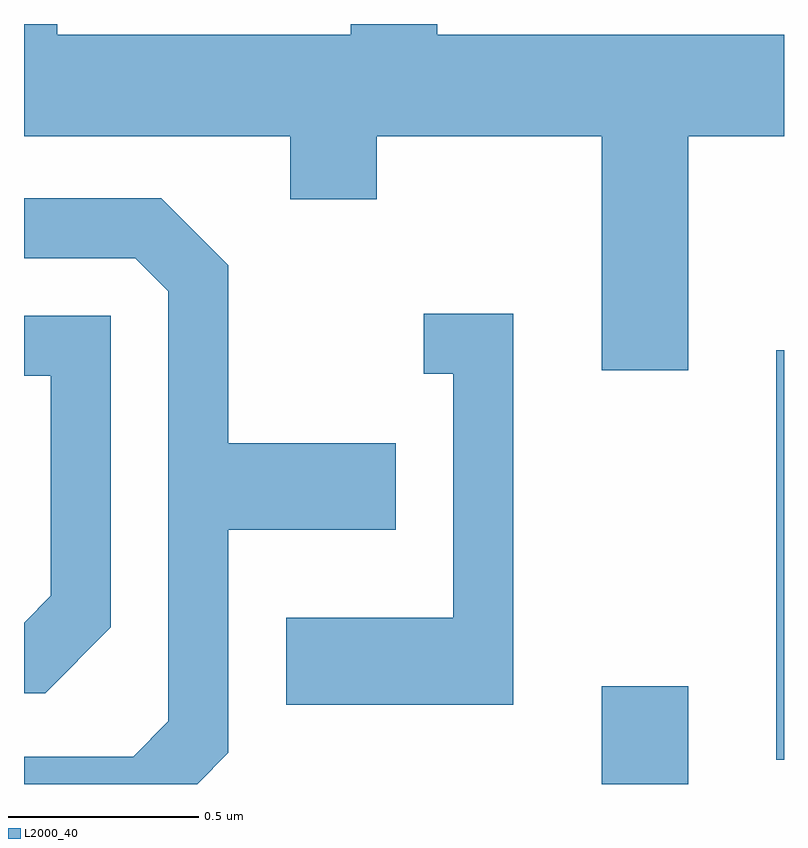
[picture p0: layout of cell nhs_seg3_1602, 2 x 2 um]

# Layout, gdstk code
import gdstk
lib = gdstk.Library(unit=1e-6, precision=1e-09)
def R(c, l, rs):  # rectangles x0, y0, x1, y1
    for r in rs: c.add(gdstk.rectangle(r[:2], r[2:], *l))
def P(c, l, *ps):  # polygons
    for p in ps: c.add(gdstk.Polygon(p, *l))
L2000_40 = (2000, 40)

nhs_seg3_1602 = lib.new_cell('nhs_seg3_1602')
R(nhs_seg3_1602, L2000_40, [(198.131,1210.892,198.359,1211.149), (198.591,1210.956,198.611,1212.034)])
P(nhs_seg3_1602, L2000_40, [(198.359,1212.596),(198.611,1212.596),(198.611,1212.864),(197.699,1212.864),(197.699,1212.892),(197.471,1212.892),(197.471,1212.864),(196.699,1212.864),(196.699,1212.892),(196.611,1212.892),(196.611,1212.596),(197.311,1212.596),(197.311,1212.431),(197.539,1212.431),(197.539,1212.596),(198.131,1212.596),(198.131,1211.981),(198.359,1211.981)],
  [(197.149,1210.974),(197.149,1211.561),(197.589,1211.561),(197.589,1211.789),(197.149,1211.789),(197.149,1212.257),(196.972,1212.434),(196.611,1212.434),(196.611,1212.276),(196.904,1212.276),(196.991,1212.189),(196.991,1211.057),(196.899,1210.964),(196.611,1210.964),(196.611,1210.892),(197.067,1210.892)],
  [(197.899,1212.129),(197.663,1212.129),(197.663,1211.971),(197.741,1211.971),(197.741,1211.329),(197.301,1211.329),(197.301,1211.101),(197.899,1211.101)],
  [(196.839,1211.304),(196.839,1212.124),(196.611,1212.124),(196.611,1211.966),(196.681,1211.966),(196.681,1211.387),(196.611,1211.316),(196.611,1211.131),(196.667,1211.131)])

lib.write_gds('nhs_seg3_1602.gds')
